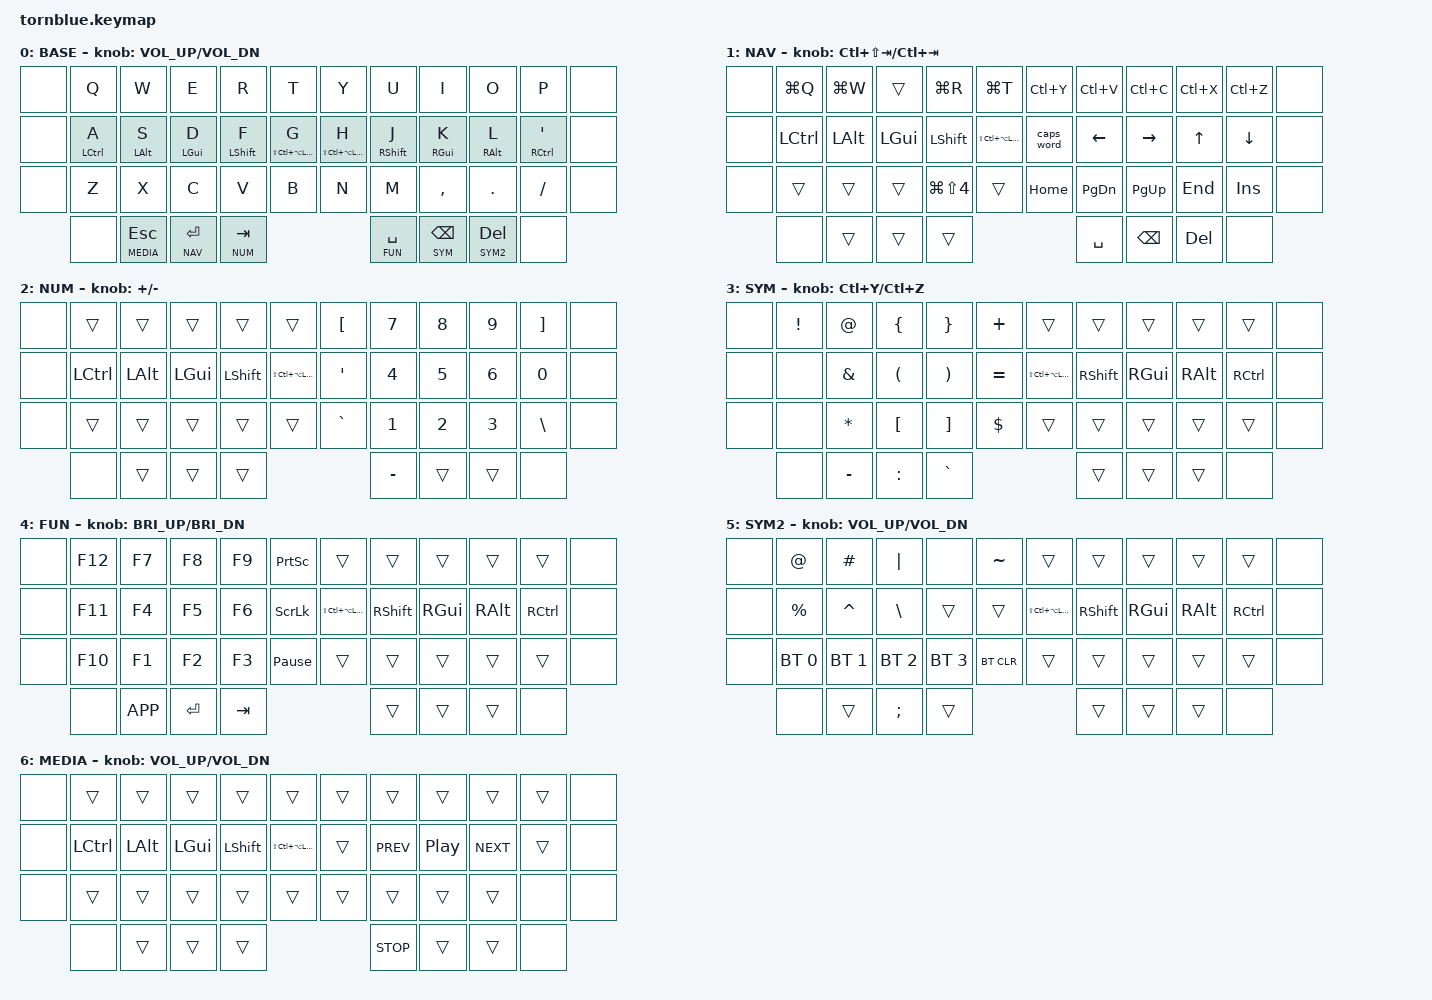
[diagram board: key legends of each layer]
/*
 * tornblue.keymap — ZMK keymap for Kyle's TornBlue
 *
 * Physical layout: 3×6 split + 4 thumb keys per side (44 keys total)
 * Used as: 3×5 + 3 thumb (outer column and outer thumb = &none)
 *
 * Layers (0–6):
 *   BASE  — QWERTY with home row mods (CAGS order)
 *   NAV   — Vim arrows, clipboard, page navigation  (hold ENT)
 *   NUM   — Right-hand numpad with coding punctuation (hold TAB)
 *   SYM   — Symbols and operators (: on thumb)         (hold BSP)
 *   FUN   — F-keys in numpad arrangement              (hold SPC)
 *   SYM2  — Rare symbols, ; on thumb, BT profiles      (hold DEL)
 *   MEDIA — Transport controls                        (hold ESC)
 *
 * Home row mods: CAGS order — CTL ALT GUI SFT from pinky → index
 * Positional hold-tap: Ctrl/Alt/GUI/Hyper only activate on cross-hand keys;
 *   Shift triggers on either hand so same-hand Shift+key works
 * Hyper key (⌘⌥⌃⇧) on G and H
 *
 * Key positions (44 keys):
 *    0  1  2  3  4  5  |  6  7  8  9 10 11
 *   12 13 14 15 16 17  | 18 19 20 21 22 23
 *   24 25 26 27 28 29  | 30 31 32 33 34 35
 *         36 37 38 39  | 40 41 42 43
 *
 * Positions 0,12,24 (left outer col), 11,23,35 (right outer col),
 * 36 (left outer thumb), 43 (right outer thumb) are unused (&none).
 * Fill them in if you want extra keys!
 */

#include <behaviors.dtsi>
#include <dt-bindings/zmk/keys.h>
#include <dt-bindings/zmk/bt.h>

/* ── Layer indices ───────────────────────────────────────────── */
#define BASE  0
#define NAV   1
#define NUM   2
#define SYM   3
#define FUN   4
#define SYM2  5
#define MEDIA 6

/* ── Hyper = all four modifiers ──────────────────────────────── */
#define HYPER LS(LC(LA(LGUI)))

/* ── Key position groups for positional hold-tap ────────────── */
#define KEYS_L 1 2 3 4 5 13 14 15 16 17 25 26 27 28 29
#define KEYS_R 6 7 8 9 10 18 19 20 21 22 30 31 32 33 34
#define THUMBS 37 38 39 40 41 42

/ {
    /* ── Behaviors ───────────────────────────────────────────── */
    behaviors {
        /* Left-hand home row mods — only trigger hold on right-hand or thumb keys */
        hml: homerow_mods_left {
            compatible = "zmk,behavior-hold-tap";
            #binding-cells = <2>;
            tapping-term-ms = <280>;
            quick-tap-ms = <175>;
            require-prior-idle-ms = <150>;
            flavor = "balanced";
            bindings = <&kp>, <&kp>;
            hold-trigger-key-positions = <KEYS_R THUMBS>;
            hold-trigger-on-release;
        };

        /* Right-hand home row mods — only trigger hold on left-hand or thumb keys */
        hmr: homerow_mods_right {
            compatible = "zmk,behavior-hold-tap";
            #binding-cells = <2>;
            tapping-term-ms = <280>;
            quick-tap-ms = <175>;
            require-prior-idle-ms = <150>;
            flavor = "balanced";
            bindings = <&kp>, <&kp>;
            hold-trigger-key-positions = <KEYS_L THUMBS>;
            hold-trigger-on-release;
        };

        /* Left-hand shift — triggers on either hand so shift works same-hand.
         * Lower tapping-term (200ms) so same-hand shift resolves faster.
         * require-prior-idle at 50ms: lowest viable value for shift to
         * activate reliably mid-typing. See decisions/001 trial log. */
        hml_s: homerow_mods_left_shift {
            compatible = "zmk,behavior-hold-tap";
            #binding-cells = <2>;
            tapping-term-ms = <200>;
            quick-tap-ms = <175>;
            require-prior-idle-ms = <50>;
            flavor = "balanced";
            bindings = <&kp>, <&kp>;
            hold-trigger-key-positions = <KEYS_L KEYS_R THUMBS>;
            hold-trigger-on-release;
        };

        /* Right-hand shift — triggers on either hand so shift works same-hand.
         * Lower tapping-term (200ms) so same-hand shift resolves faster.
         * require-prior-idle at 50ms: lowest viable value for shift to
         * activate reliably mid-typing. See decisions/001 trial log. */
        hmr_s: homerow_mods_right_shift {
            compatible = "zmk,behavior-hold-tap";
            #binding-cells = <2>;
            tapping-term-ms = <200>;
            quick-tap-ms = <175>;
            require-prior-idle-ms = <50>;
            flavor = "balanced";
            bindings = <&kp>, <&kp>;
            hold-trigger-key-positions = <KEYS_L KEYS_R THUMBS>;
            hold-trigger-on-release;
        };

        /* Thumb layer-taps — no require-prior-idle since thumb keys
         * aren't part of the alpha typing flow (no accidental rolls). */
        lt_hp: layer_tap_hp {
            compatible = "zmk,behavior-hold-tap";
            #binding-cells = <2>;
            tapping-term-ms = <200>;
            quick-tap-ms = <175>;
            flavor = "balanced";
            bindings = <&mo>, <&kp>;
        };
    };

    /* ── Keymap ──────────────────────────────────────────────── */
    keymap {
        compatible = "zmk,keymap";

        /* ── 0: BASE ────────────────────────────────────────── */
        base_layer {
            label = "BASE";
            bindings = <
    &none       &kp Q       &kp W       &kp E       &kp R       &kp T           &kp Y       &kp U       &kp I       &kp O       &kp P       &none
    &none       &hml LCTRL A &hml LALT S  &hml LGUI D  &hml_s LSHFT F &hml HYPER G     &hmr HYPER H &hmr_s RSHFT J &hmr RGUI K  &hmr RALT L  &hmr RCTRL SQT &none
    &none       &kp Z       &kp X       &kp C       &kp V       &kp B           &kp N       &kp M       &kp COMMA   &kp DOT     &kp FSLH    &none
                    &none   &lt MEDIA ESC &lt NAV RET &lt NUM TAB                 &lt_hp FUN SPACE &lt_hp SYM BSPC &lt_hp SYM2 DEL &none
            >;
            sensor-bindings = <&inc_dec_kp C_VOL_UP C_VOL_DN>;
        };

        /* ── 1: NAV  (hold ENT — pos 38) ────────────────────── */
        /*  Left hand: one-handed shortcuts for mousing              */
        /*    top: CMD+Q, CMD+W, CMD+R, CMD+T  bottom: screenshot  */
        /*  Clipboard on right top row (Ctrl+letter for Linux/Win)   */
        /*  Vim arrows on right home row, page nav on bottom row     */
        nav_layer {
            label = "NAV";
            bindings = <
    &none       &kp LG(Q)   &kp LG(W)   &trans      &kp LG(R)   &kp LG(T)       &kp LC(Y)   &kp LC(V)   &kp LC(C)   &kp LC(X)   &kp LC(Z)   &none
    &none       &kp LCTRL   &kp LALT    &kp LGUI    &kp LSHFT   &kp HYPER       &caps_word  &kp LEFT    &kp RIGHT   &kp UP      &kp DOWN    &none
    &none       &trans      &trans      &trans      &kp LG(LS(N4)) &trans      &kp HOME    &kp PG_DN   &kp PG_UP   &kp END     &kp INS     &none
                    &none   &trans      &trans      &trans                      &kp SPACE   &kp BSPC    &kp DEL     &none
            >;
            sensor-bindings = <&inc_dec_kp LC(LS(TAB)) LC(TAB)>;
        };

        /* ── 2: NUM  (hold TAB — pos 39) ────────────────────── */
        /*  Right-hand numpad: 789 / 456 / 123  with [ ] ' 0 ` \  */
        /*  BSP and DEL tap through from base layer                */
        num_layer {
            label = "NUM";
            bindings = <
    &none       &trans      &trans      &trans      &trans      &trans          &kp LBKT    &kp N7      &kp N8      &kp N9      &kp RBKT    &none
    &none       &kp LCTRL   &kp LALT    &kp LGUI    &kp LSHFT   &kp HYPER       &kp SQT     &kp N4      &kp N5      &kp N6      &kp N0      &none
    &none       &trans      &trans      &trans      &trans      &trans          &kp GRAVE   &kp N1      &kp N2      &kp N3      &kp BSLH    &none
                    &none   &trans      &trans      &trans                      &kp MINUS   &trans      &trans      &none
            >;
            sensor-bindings = <&inc_dec_kp PLUS MINUS>;
        };

        /* ── 3: SYM  (hold BSP — pos 41) ────────────────────── */
        /*  Brackets on middle/index (stronger fingers):           */
        /*    ! @  { }  +   |  —  &  ( )  =  |  —  *  [ ]  $    */
        /*  Hyphen, :, and grave on thumb row. Shift+grave = ~       */
        sym_layer {
            label = "SYM";
            bindings = <
    &none       &kp EXCL    &kp AT      &kp LBRC    &kp RBRC    &kp PLUS        &trans      &trans      &trans      &trans      &trans      &none
    &none       &none       &kp AMPS    &kp LPAR    &kp RPAR    &kp EQUAL       &kp HYPER   &kp RSHFT   &kp RGUI    &kp RALT    &kp RCTRL   &none
    &none       &none       &kp ASTRK   &kp LBKT    &kp RBKT    &kp DLLR        &trans      &trans      &trans      &trans      &trans      &none
                    &none   &kp MINUS   &kp COLON   &kp GRAVE                   &trans      &trans      &trans      &none
            >;
            sensor-bindings = <&inc_dec_kp LC(Y) LC(Z)>;
        };

        /* ── 4: FUN  (hold SPC — pos 40) ────────────────────── */
        /*  F-keys in numpad arrangement on left hand              */
        fun_layer {
            label = "FUN";
            bindings = <
    &none       &kp F12     &kp F7      &kp F8      &kp F9      &kp PSCRN       &trans      &trans      &trans      &trans      &trans      &none
    &none       &kp F11     &kp F4      &kp F5      &kp F6      &kp SLCK        &kp HYPER   &kp RSHFT   &kp RGUI    &kp RALT    &kp RCTRL   &none
    &none       &kp F10     &kp F1      &kp F2      &kp F3      &kp PAUSE_BREAK &trans      &trans      &trans      &trans      &trans      &none
                    &none   &kp K_APP   &kp RET     &kp TAB                     &trans      &trans      &trans      &none
            >;
            sensor-bindings = <&inc_dec_kp C_BRI_UP C_BRI_DN>;
        };

        /* ── 5: SYM2 (hold DEL — pos 42) ────────────────────── */
        /*  Rare symbols on left hand — no same-hand chording      */
        /*  PIPE and TILDE on top row, ; on thumb row              */
        /*  BT profiles on bottom row for wireless management      */
        sym2_layer {
            label = "SYM2";
            bindings = <
    &none       &kp AT      &kp HASH    &kp PIPE    &none       &kp TILDE       &trans      &trans      &trans      &trans      &trans      &none
    &none       &kp PRCNT   &kp CARET   &kp BSLH    &trans      &trans          &kp HYPER   &kp RSHFT   &kp RGUI    &kp RALT    &kp RCTRL   &none
    &none       &bt BT_SEL 0 &bt BT_SEL 1 &bt BT_SEL 2 &bt BT_SEL 3 &bt BT_CLR &trans     &trans      &trans      &trans      &trans      &none
                    &none   &trans      &kp SEMI    &trans                      &trans      &trans      &trans      &none
            >;
            sensor-bindings = <&inc_dec_kp C_VOL_UP C_VOL_DN>;
        };

        /* ── 6: MEDIA (hold ESC — pos 37) ────────────────────── */
        /*  Transport on right home row. Volume on encoders only.  */
        media_layer {
            label = "MEDIA";
            bindings = <
    &none       &trans      &trans      &trans      &trans      &trans          &trans      &trans      &trans      &trans      &trans      &none
    &none       &kp LCTRL   &kp LALT    &kp LGUI    &kp LSHFT   &kp HYPER       &trans      &kp C_PREV  &kp C_PP    &kp C_NEXT  &trans      &none
    &none       &trans      &trans      &trans      &trans      &trans          &trans      &trans      &trans      &trans      &none       &none
                    &none   &trans      &trans      &trans                      &kp C_STOP  &trans      &trans      &none
            >;
            sensor-bindings = <&inc_dec_kp C_VOL_UP C_VOL_DN>;
        };
    };
};

/ {
    sensors {
        triggers-per-rotation = <12>;
    };
};
